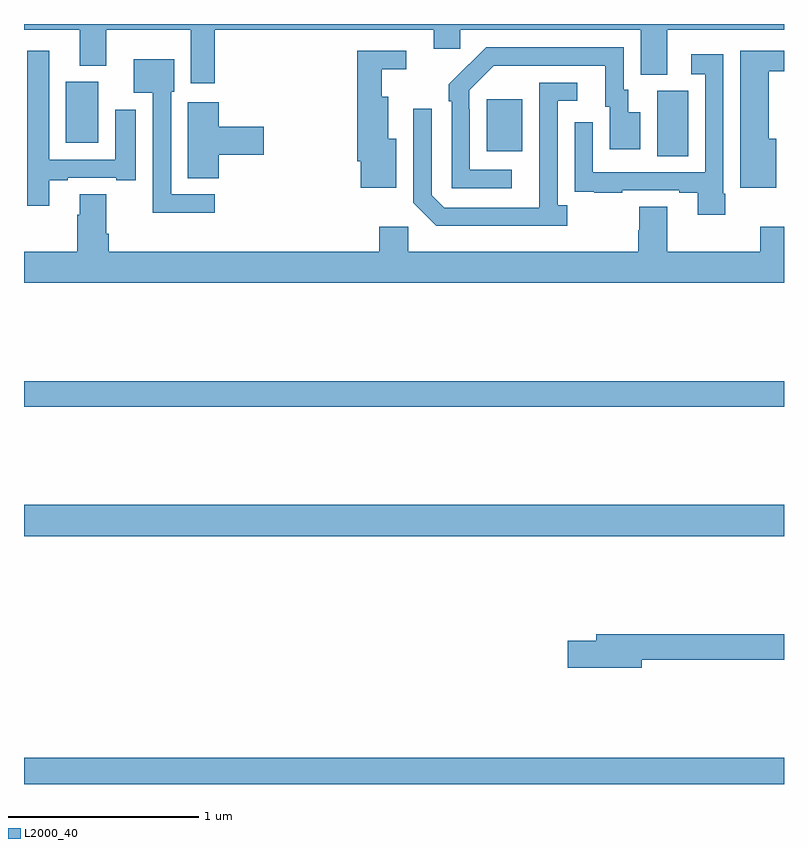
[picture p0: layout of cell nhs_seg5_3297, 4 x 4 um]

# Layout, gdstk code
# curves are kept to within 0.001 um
import gdstk
lib = gdstk.Library(unit=1e-6, precision=1e-09)
def R(c, l, rs):  # rectangles x0, y0, x1, y1
    for r in rs: c.add(gdstk.rectangle(r[:2], r[2:], *l))
def P(c, l, *ps):  # polygons
    for p in ps: c.add(gdstk.Polygon(p, *l))
L2000_40 = (2000, 40)

nhs_seg5_3297 = lib.new_cell('nhs_seg5_3297')
R(nhs_seg5_3297, L2000_40, [(303,844.799,307,844.936), (303,846.104,307,846.268), (303,846.784,307,846.92), (306.332,848.104,306.496,848.448), (305.435,848.129,305.623,848.404), (303.221,848.174,303.391,848.494)])
P(nhs_seg5_3297, L2000_40, [(303,848.768),(303.293,848.768),(303.293,848.579),(303.433,848.579),(303.433,848.768),(303.878,848.768),(303.878,848.487),(304.004,848.487),(304.004,848.768),(305.156,848.768),(305.156,848.67),(305.295,848.67),(305.295,848.768),(306.245,848.768),(306.245,848.533),(306.385,848.533),(306.385,848.768),(307,848.768),(307,848.799),(303,848.799)],
  [(305.566,848.031),(305.346,848.031),(305.346,848.351),(305.343,848.351),(305.343,848.451),(305.472,848.58),(306.059,848.58),(306.059,848.364),(306.083,848.364),(306.083,848.139),(306.244,848.139),(306.244,848.335),(306.181,848.335),(306.181,848.454),(306.156,848.454),(306.156,848.676),(305.432,848.676),(305.235,848.481),(305.235,848.393),(305.25,848.393),(305.25,847.935),(305.566,847.935)],
  [(303.133,847.977),(303.229,847.977),(303.229,847.989),(303.485,847.989),(303.485,847.977),(303.589,847.977),(303.589,848.347),(303.479,848.347),(303.479,848.085),(303.132,848.085),(303.132,848.659),(303.016,848.659),(303.016,847.842),(303.133,847.842)],
  [(306.958,848.194),(306.919,848.194),(306.919,848.55),(307,848.55),(307,848.658),(306.77,848.658),(306.77,847.937),(306.958,847.937)],
  [(304.96,848.194),(304.918,848.194),(304.918,848.416),(304.882,848.416),(304.882,848.561),(305.011,848.561),(305.011,848.658),(304.753,848.658),(304.753,848.076),(304.772,848.076),(304.772,847.937),(304.96,847.937)],
  [(306.69,847.906),(306.681,847.906),(306.681,848.641),(306.513,848.641),(306.513,848.535),(306.585,848.535),(306.585,848.019),(305.994,848.019),(305.994,848.281),(305.898,848.281),(305.898,848.026),(305.899,848.026),(305.899,847.917),(306.001,847.917),(306.001,847.911),(306.149,847.911),(306.149,847.923),(306.449,847.923),(306.449,847.911),(306.545,847.911),(306.545,847.794),(306.69,847.794)],
  [(304.003,847.902),(303.774,847.902),(303.774,848.442),(303.79,848.442),(303.79,848.614),(303.578,848.614),(303.578,848.438),(303.678,848.438),(303.678,847.805),(304.003,847.805)],
  [(305.86,847.846),(305.808,847.846),(305.808,848.394),(305.911,848.394),(305.911,848.49),(305.712,848.49),(305.711,847.833),(305.211,847.833),(305.145,847.899),(305.145,848.353),(305.049,848.353),(305.049,847.857),(305.17,847.736),(305.86,847.736)],
  [(304.025,848.111),(304.261,848.111),(304.261,848.258),(304.025,848.258),(304.025,848.386),(303.863,848.386),(303.863,847.987),(304.025,847.987)],
  [(307,847.732),(306.874,847.732),(306.874,847.6),(306.385,847.6),(306.385,847.838),(306.238,847.838),(306.238,847.713),(306.233,847.713),(306.233,847.6),(305.022,847.6),(305.022,847.732),(304.871,847.732),(304.871,847.6),(303.446,847.6),(303.446,847.696),(303.433,847.696),(303.433,847.904),(303.293,847.904),(303.293,847.796),(303.281,847.796),(303.281,847.6),(303,847.6),(303,847.436),(307,847.436)],
  [(306.25,845.452),(307,845.452),(307,845.588),(306.011,845.588),(306.011,845.552),(305.862,845.552),(305.862,845.41),(306.25,845.41)])

lib.write_gds('nhs_seg5_3297.gds')
